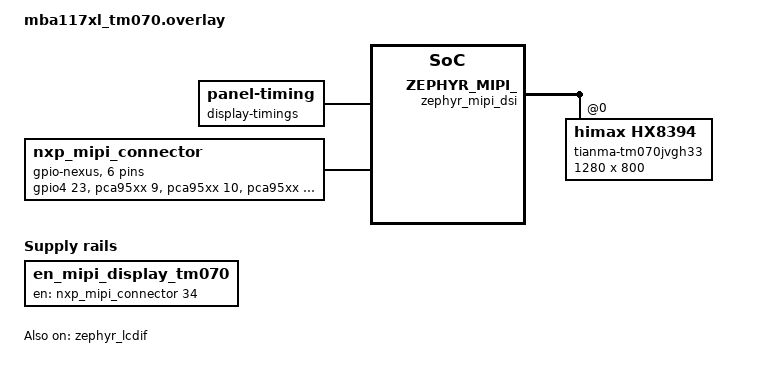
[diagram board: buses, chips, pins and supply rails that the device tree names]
/*!
 * Copyright (c) 2025 TQ-Systems GmbH <oss@ew.tq-group.com>
 * SPDX-License-Identifier: Apache 2.0
 * Author: Isaac L. L. Yuki
 */

#include <zephyr/dt-bindings/display/panel.h>

/{
	chosen {
		zephyr,display = &lcdif;
	};

	aliases {
		lcd-control = &lcdControl;
	};

	en_mipi_display_tm070: enable-mipi-display-tm070 {
		compatible = "regulator-fixed";
		regulator-name = "en_mipi_display";
		enable-gpios = <&nxp_mipi_connector 34 GPIO_ACTIVE_HIGH>,
		<&nxp_mipi_connector 32 GPIO_ACTIVE_HIGH>;
		regulator-boot-on;
	};
};


&zephyr_lcdif {
	status = "okay";
	width = <1280>;
	height = <800>;
	display-timings {
		compatible = "zephyr,panel-timing";
		hsync-len = <1>;
		hfront-porch = <64>;
		hback-porch = <5>;
		vsync-len = <1>;
		vfront-porch = <40>;
		vback-porch = <2>;
		hsync-active = <0>;
		vsync-active = <0>;
		de-active = <1>;
		pixelclk-active = <0>;
		/*
		 * Pixel clock is given by the following formula:
		 * (height + vsync-len + vfront-porch + vback-porch) *
		 * (width + hsync-len + hfront-porch + hback-porch) * frame rate
		 */
		clock-frequency = <33000000>;
	};
	pixel-format = <PANEL_PIXEL_FORMAT_RGB_888>;
	data-bus-width = "24-bit";
	backlight-gpios = <&nxp_mipi_connector 32 GPIO_ACTIVE_HIGH>;
};

&zephyr_mipi_dsi {
	status = "okay";
	nxp,lcdif = <&lcdif>;
	dpi-color-coding = "24-bit";
	dpi-pixel-packet = "24-bit";
	dpi-video-mode = "burst";
	dpi-bllp-mode = "low-power";
	autoinsert-eotp;
	/*
	 * PHY clock is given by the following formula:
	 * (pixel clock * bits per pixel) / MIPI data lanes
	 */
	phy-clock = <888000000>;
	tianma-tm070jvgh33@0 {
		status = "okay";
		compatible = "himax,hx8394";
		/*
		* This display controller works fine for the demo purpose.
		* But clearly it is not the best solution.
		*/
		reg = <0x0>;
		data-lanes = <2>;
		width = <1280>;
		height = <800>;
		pixel-format = <MIPI_DSI_PIXFMT_RGB888>;
	};
};


&nxp_mipi_connector{
	compatible = "gpio-nexus";
	#gpio-cells = <2>;
	gpio-map-mask = <0xffffffff 0xffffffc0>;
	gpio-map-pass-thru = <0 0x3f>;
	gpio-map = <29 0 &gpio4 23 0>,	/* Pin 29, INPUT_IRQ */
			<20 0 &pca95xx 9 0>,	/* Pin 31, LVDS BACKLIGHT */
			<21 0 &pca95xx 10 0>,	/* Pin 31, LCD RESET# */
			<32 0 &pca95xx 11 0>,	/* Pin 32, PWR_EN */
			<28 0 &pca95xx 12 0>,	/* Pin 32, CTP RESET# */
			<34 0 &pca95xx 13 0>;	/* Pin 34, MIPI_EN */
};
